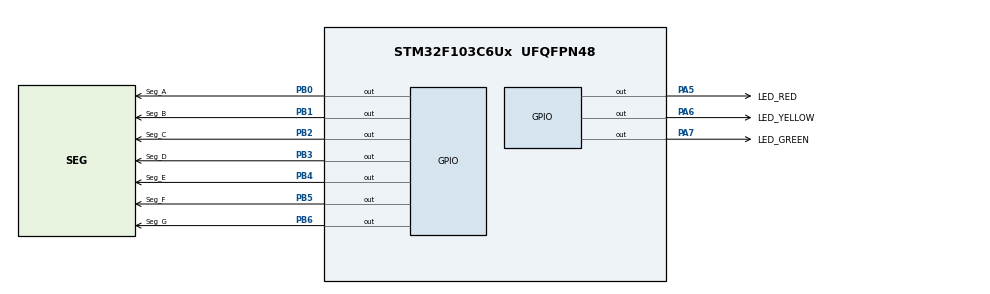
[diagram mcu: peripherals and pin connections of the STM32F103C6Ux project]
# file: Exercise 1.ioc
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Mcu.Family=STM32F1
Mcu.Name=STM32F103C6Ux
Mcu.Package=UFQFPN48
NVIC.PriorityGroup=NVIC_PRIORITYGROUP_4
PA5.GPIO_Label=LED_RED
PA5.Signal=GPIO_Output
PA6.GPIO_Label=LED_YELLOW
PA6.Signal=GPIO_Output
PA7.GPIO_Label=LED_GREEN
PA7.Signal=GPIO_Output
PB0.GPIO_Label=Seg_A
PB0.Signal=GPIO_Output
PB1.GPIO_Label=Seg_B
PB1.Signal=GPIO_Output
PB2.GPIO_Label=Seg_C
PB2.Signal=GPIO_Output
PB3.GPIO_Label=Seg_D
PB3.Signal=GPIO_Output
PB4.GPIO_Label=Seg_E
PB4.Signal=GPIO_Output
PB5.GPIO_Label=Seg_F
PB5.Signal=GPIO_Output
PB6.GPIO_Label=Seg_G
PB6.Signal=GPIO_Output
ProjectManager.HeapSize=0x200
ProjectManager.StackSize=0x400
ProjectManager.TargetToolchain=STM32CubeIDE
RCC.APB1Freq_Value=8000000
RCC.APB2Freq_Value=8000000
board=custom

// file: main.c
/* USER CODE BEGIN Header */
/**
  ******************************************************************************
  * @file           : main.c
  * @brief          : Main program body
  ******************************************************************************
  * @attention
  *
  * Copyright (c) 2022 STMicroelectronics.
  * All rights reserved.
  *
  * This software is licensed under terms that can be found in the LICENSE file
  * in the root directory of this software component.
  * If no LICENSE file comes with this software, it is provided AS-IS.
  *
  ******************************************************************************
  */
/* USER CODE END Header */
#include "main.h"

void SystemClock_Config(void);
static void MX_GPIO_Init(void);

int main(void)
{

  /* MCU Configuration--------------------------------------------------------*/

  /* Reset of all peripherals, Initializes the Flash interface and the Systick. */
  HAL_Init();

  /* Configure the system clock */
  SystemClock_Config();

  /* Initialize all configured peripherals */
  MX_GPIO_Init();

  /* Infinite loop */
  /* USER CODE BEGIN WHILE */
  	int counter = 2;
    int red = 1;
    int yellow = 0;
    HAL_GPIO_TogglePin (LED_YELLOW_GPIO_Port, LED_YELLOW_Pin) ;
    while (1)
    {
  	  counter --;

  	  if (red == 1 && counter == 0)
  	  {
  		  counter = 2;
  		  HAL_GPIO_TogglePin ( LED_RED_GPIO_Port , LED_RED_Pin ) ;
  		  HAL_GPIO_TogglePin (LED_YELLOW_GPIO_Port, LED_YELLOW_Pin) ;
  		  red = 0;
  		  yellow = 1;
  	  }
  	  else if (yellow == 1 && counter == 0)
  	  {
  		  counter = 2;
  		  HAL_GPIO_TogglePin (LED_YELLOW_GPIO_Port, LED_YELLOW_Pin) ;
  		  HAL_GPIO_TogglePin ( LED_RED_GPIO_Port , LED_RED_Pin ) ;
  		  red = 1;
  		  yellow = 0;
  	  }

  	  HAL_Delay (1000) ;
  }

    /* USER CODE END WHILE */

}

void SystemClock_Config(void)
{
  RCC_OscInitTypeDef RCC_OscInitStruct = {0};
  RCC_ClkInitTypeDef RCC_ClkInitStruct = {0};

  /** Initializes the RCC Oscillators according to the specified parameters
  * in the RCC_OscInitTypeDef structure.
  */
  RCC_OscInitStruct.OscillatorType = RCC_OSCILLATORTYPE_HSI;
  RCC_OscInitStruct.HSIState = RCC_HSI_ON;
  RCC_OscInitStruct.HSICalibrationValue = RCC_HSICALIBRATION_DEFAULT;
  RCC_OscInitStruct.PLL.PLLState = RCC_PLL_NONE;
  if (HAL_RCC_OscConfig(&RCC_OscInitStruct) != HAL_OK)
  {
    Error_Handler();
  }

  /** Initializes the CPU, AHB and APB buses clocks
  */
  RCC_ClkInitStruct.ClockType = RCC_CLOCKTYPE_HCLK|RCC_CLOCKTYPE_SYSCLK
                              |RCC_CLOCKTYPE_PCLK1|RCC_CLOCKTYPE_PCLK2;
  RCC_ClkInitStruct.SYSCLKSource = RCC_SYSCLKSOURCE_HSI;
  RCC_ClkInitStruct.AHBCLKDivider = RCC_SYSCLK_DIV1;
  RCC_ClkInitStruct.APB1CLKDivider = RCC_HCLK_DIV1;
  RCC_ClkInitStruct.APB2CLKDivider = RCC_HCLK_DIV1;

  if (HAL_RCC_ClockConfig(&RCC_ClkInitStruct, FLASH_LATENCY_0) != HAL_OK)
  {
    Error_Handler();
  }
}

static void MX_GPIO_Init(void)
{
  GPIO_InitTypeDef GPIO_InitStruct = {0};

  /* GPIO Ports Clock Enable */
  __HAL_RCC_GPIOA_CLK_ENABLE();
  __HAL_RCC_GPIOB_CLK_ENABLE();

  /*Configure GPIO pin Output Level */
  HAL_GPIO_WritePin(GPIOA, LED_RED_Pin|LED_YELLOW_Pin|LED_GREEN_Pin, GPIO_PIN_RESET);

  /*Configure GPIO pin Output Level */
  HAL_GPIO_WritePin(GPIOB, Seg_A_Pin|Seg_B_Pin|Seg_C_Pin|Seg_D_Pin
                          |Seg_E_Pin|Seg_F_Pin|Seg_G_Pin, GPIO_PIN_RESET);

  /*Configure GPIO pins : LED_RED_Pin LED_YELLOW_Pin LED_GREEN_Pin */
  GPIO_InitStruct.Pin = LED_RED_Pin|LED_YELLOW_Pin|LED_GREEN_Pin;
  GPIO_InitStruct.Mode = GPIO_MODE_OUTPUT_PP;
  GPIO_InitStruct.Pull = GPIO_NOPULL;
  GPIO_InitStruct.Speed = GPIO_SPEED_FREQ_LOW;
  HAL_GPIO_Init(GPIOA, &GPIO_InitStruct);

  /*Configure GPIO pins : Seg_A_Pin Seg_B_Pin Seg_C_Pin Seg_D_Pin
                           Seg_E_Pin Seg_F_Pin Seg_G_Pin */
  GPIO_InitStruct.Pin = Seg_A_Pin|Seg_B_Pin|Seg_C_Pin|Seg_D_Pin
                          |Seg_E_Pin|Seg_F_Pin|Seg_G_Pin;
  GPIO_InitStruct.Mode = GPIO_MODE_OUTPUT_PP;
  GPIO_InitStruct.Pull = GPIO_NOPULL;
  GPIO_InitStruct.Speed = GPIO_SPEED_FREQ_LOW;
  HAL_GPIO_Init(GPIOB, &GPIO_InitStruct);

}

void Error_Handler(void)
{
  __disable_irq();
  while (1)
  {
  }
}
